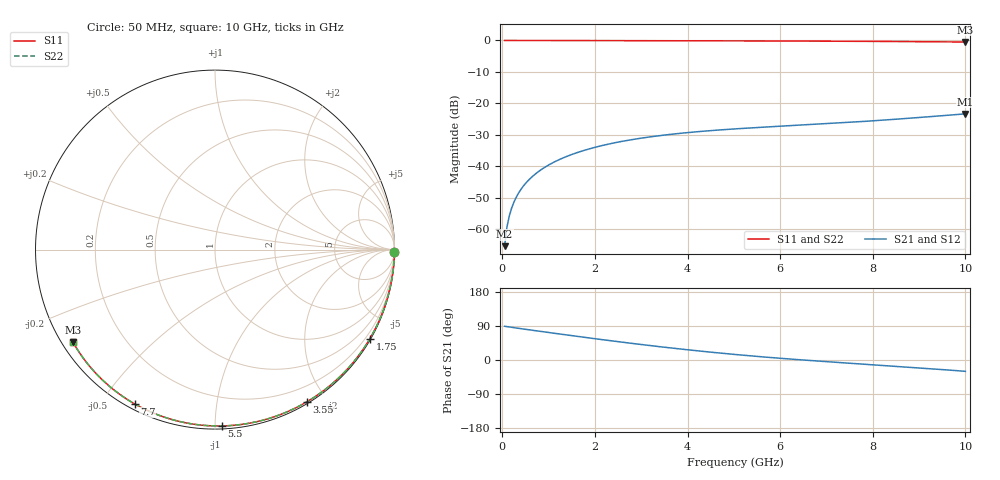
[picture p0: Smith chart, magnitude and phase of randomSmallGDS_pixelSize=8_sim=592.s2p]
! freq	dB(S11)	phase(S11)	dB(S12)	phase(S12)
!  dB(S21)	phase(S21)	dB(S22)	phase(S22)
!S-par simulation data
#  GHz  S  DB  R 50
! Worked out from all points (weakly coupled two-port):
!   200 points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, 50 MHz to 10 GHz, reference 50 ohm
!   highest |S21| = -23.32 dB at 10 GHz (marker M1); lowest = -65.4 dB at 50 MHz (marker M2)
!   lowest |S11| = -0.5 dB at 10 GHz (marker M3), VSWR 35.05, Z = 1.55 - j14.8 ohm
!   |S11| at or under -10 dB: nowhere
!   |S22| runs from -0.5 to 0.0 dB; largest |S21 - S12| = 0
!   S11 on the Smith chart (normalised r, x): 50 MHz: open; 1.75 GHz: 0.03, -3.75; 3.55 GHz: 0.02, -1.77; 5.5 GHz: 0.02, -1.04; 7.7 GHz: 0.02, -0.61; 10 GHz: 0.03, -0.30
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0.05  -0.00 -0.9  -65.36 89.1  -65.36 89.1  -0.00 -0.9
0.1  -0.00 -1.7  -59.35 88.1  -59.35 88.1  -0.00 -1.7
0.15  -0.00 -2.6  -55.84 87.2  -55.84 87.2  -0.00 -2.6
0.2  -0.00 -3.5  -53.35 86.3  -53.35 86.3  -0.00 -3.5
0.25  -0.00 -4.3  -51.42 85.4  -51.42 85.4  -0.00 -4.3
0.35  -0.00 -6.1  -48.52 83.6  -48.52 83.6  -0.00 -6.1
0.5  -0.01 -8.7  -45.46 81.0  -45.46 81.0  -0.01 -8.7
0.7  -0.01 -12.1  -42.59 77.6  -42.59 77.6  -0.01 -12.1
1  -0.02 -17.2  -39.58 72.6  -39.58 72.6  -0.02 -17.2
1.35  -0.03 -23.2  -37.09 66.8  -37.09 66.8  -0.03 -23.2
1.75  -0.04 -29.9  -35.00 60.2  -35.00 60.2  -0.04 -29.9
2.5  -0.06 -42.2  -32.30 48.4  -32.30 48.4  -0.06 -42.3
3.4  -0.08 -56.6  -30.24 35.1  -30.24 35.1  -0.08 -56.6
3.55  -0.08 -58.9  -29.97 33.0  -29.97 33.0  -0.08 -59.0
4.3  -0.10 -70.4  -28.89 23.2  -28.89 23.2  -0.10 -70.4
5.05  -0.13 -81.4  -28.08 14.3  -28.08 14.3  -0.13 -81.5
5.5  -0.15 -87.8  -27.67 9.5  -27.67 9.5  -0.15 -87.9
6.7  -0.21 -104.3  -26.69 -1.8  -26.69 -1.8  -0.21 -104.4
7.7  -0.27 -117.5  -25.82 -10.0  -25.82 -10.0  -0.27 -117.6
8.35  -0.32 -125.9  -25.18 -15.3  -25.18 -15.3  -0.32 -126.0
9.2  -0.40 -136.7  -24.26 -22.5  -24.26 -22.5  -0.41 -136.8
10  -0.50 -146.9  -23.32 -29.9  -23.32 -29.9  -0.50 -147.0
